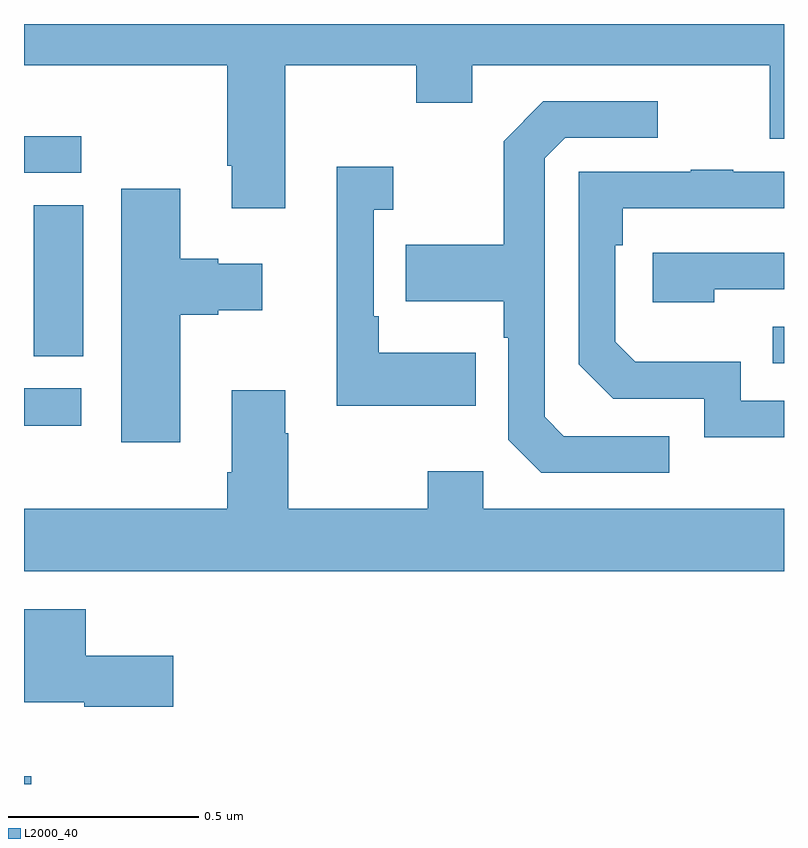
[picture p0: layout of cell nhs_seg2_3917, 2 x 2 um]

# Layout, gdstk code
import gdstk
lib = gdstk.Library(unit=1e-6, precision=1e-09)
def R(c, l, rs):  # rectangles x0, y0, x1, y1
    for r in rs: c.add(gdstk.rectangle(r[:2], r[2:], *l))
def P(c, l, *ps):  # polygons
    for p in ps: c.add(gdstk.Polygon(p, *l))
L2000_40 = (2000, 40)

nhs_seg2_3917 = lib.new_cell('nhs_seg2_3917')
R(nhs_seg2_3917, L2000_40, [(160,589.8,160.019,589.82), (160,590.743,160.15,590.841), (161.971,590.907,162,591.003), (160.025,590.926,160.156,591.323), (160,591.408,160.15,591.504)])
P(nhs_seg2_3917, L2000_40, [(160.687,591.692),(161.032,591.692),(161.032,591.593),(161.179,591.593),(161.179,591.692),(161.963,591.692),(161.963,591.498),(162,591.498),(162,591.8),(160,591.8),(160,591.692),(160.535,591.692),(160.535,591.427),(160.547,591.427),(160.547,591.315),(160.687,591.315)],
  [(161.698,590.715),(161.421,590.715),(161.37,590.766),(161.37,591.447),(161.424,591.501),(161.668,591.501),(161.668,591.597),(161.367,591.597),(161.262,591.491),(161.262,591.219),(161.005,591.219),(161.005,591.071),(161.262,591.071),(161.262,590.975),(161.274,590.975),(161.274,590.706),(161.361,590.619),(161.698,590.619)],
  [(161.189,590.935),(160.933,590.935),(160.933,591.031),(160.92,591.031),(160.92,591.311),(160.972,591.311),(160.972,591.424),(160.823,591.424),(160.823,590.795),(161.189,590.795)],
  [(162,590.808),(161.886,590.808),(161.886,590.911),(161.609,590.911),(161.556,590.964),(161.556,591.218),(161.576,591.218),(161.576,591.315),(162,591.315),(162,591.411),(161.867,591.411),(161.867,591.416),(161.755,591.416),(161.755,591.411),(161.46,591.411),(161.46,590.904),(161.55,590.814),(161.79,590.814),(161.79,590.712),(162,590.712)],
  [(160.411,591.035),(160.511,591.035),(160.511,591.047),(160.627,591.047),(160.627,591.169),(160.511,591.169),(160.511,591.182),(160.411,591.182),(160.411,591.367),(160.256,591.367),(160.256,590.7),(160.411,590.7)],
  [(161.816,591.102),(162,591.102),(162,591.198),(161.655,591.198),(161.655,591.068),(161.816,591.068)],
  [(162,590.524),(161.208,590.524),(161.208,590.623),(161.062,590.623),(161.062,590.524),(160.695,590.524),(160.695,590.723),(160.687,590.723),(160.687,590.836),(160.547,590.836),(160.547,590.62),(160.535,590.62),(160.535,590.524),(160,590.524),(160,590.36),(162,590.36)],
  [(160.393,590.137),(160.162,590.137),(160.162,590.26),(160,590.26),(160,590.015),(160.158,590.015),(160.158,590.003),(160.393,590.003)])

lib.write_gds('nhs_seg2_3917.gds')
